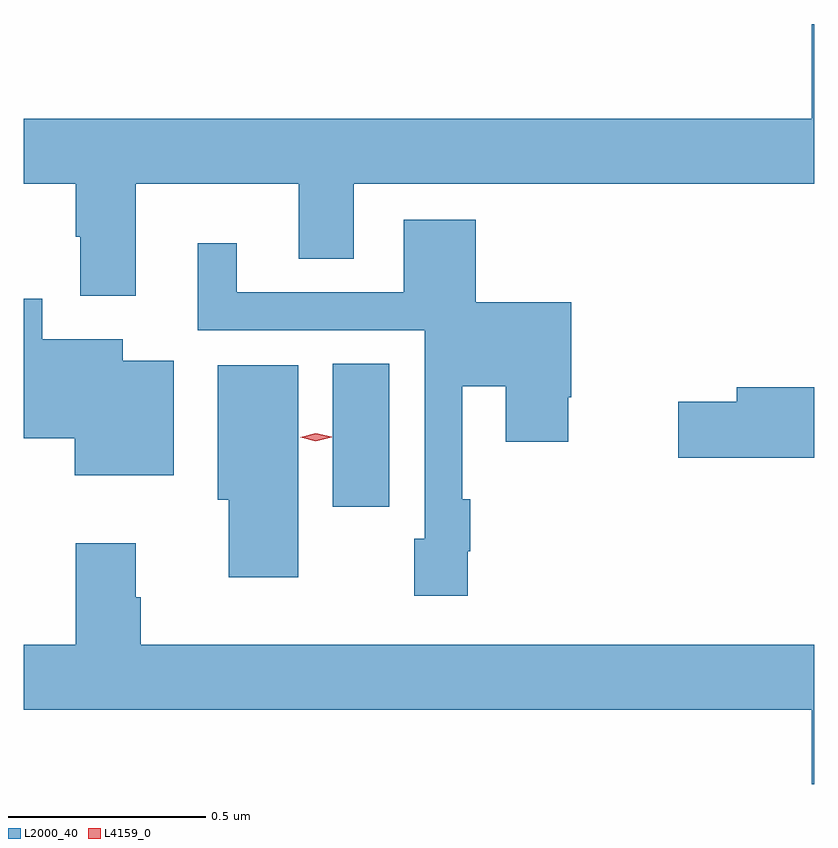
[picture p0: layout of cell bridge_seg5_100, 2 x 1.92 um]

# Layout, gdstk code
import gdstk
lib = gdstk.Library(unit=1e-6, precision=1e-09)
def R(c, l, rs):  # rectangles x0, y0, x1, y1
    for r in rs: c.add(gdstk.rectangle(r[:2], r[2:], *l))
def P(c, l, *ps):  # polygons
    for p in ps: c.add(gdstk.Polygon(p, *l))
L2000_40 = (2000, 40)
L4159_0 = (4159, 0)

bridge_seg5_100 = lib.new_cell('bridge_seg5_100')
R(bridge_seg5_100, L2000_40, [(619.34,894.57,619.483,894.932)])
P(bridge_seg5_100, L2000_40, [(618.841,895.388),(619.253,895.388),(619.253,895.198),(619.393,895.198),(619.393,895.388),(620.558,895.388),(620.558,895.792),(620.552,895.792),(620.552,895.552),(618.558,895.552),(618.558,895.388),(618.689,895.388),(618.689,895.254),(618.701,895.254),(618.701,895.104),(618.841,895.104)],
  [(619.681,894.457),(619.688,894.457),(619.688,894.589),(619.668,894.589),(619.668,894.875),(619.778,894.875),(619.778,894.735),(619.936,894.735),(619.936,894.847),(619.944,894.847),(619.944,895.087),(619.702,895.087),(619.702,895.297),(619.52,895.297),(619.52,895.113),(619.096,895.113),(619.096,895.237),(618.998,895.237),(618.998,895.017),(619.572,895.017),(619.572,894.489),(619.546,894.489),(619.546,894.345),(619.681,894.345)],
  [(618.937,894.94),(618.808,894.94),(618.808,894.994),(618.604,894.994),(618.604,895.096),(618.558,895.096),(618.558,894.743),(618.686,894.743),(618.686,894.65),(618.937,894.65)],
  [(619.252,894.928),(619.049,894.928),(619.049,894.588),(619.076,894.588),(619.076,894.392),(619.252,894.392)],
  [(620.558,894.872),(620.363,894.872),(620.363,894.836),(620.214,894.836),(620.214,894.694),(620.558,894.694)],
  [(620.558,894.22),(618.854,894.22),(618.854,894.341),(618.841,894.341),(618.841,894.478),(618.689,894.478),(618.689,894.22),(618.558,894.22),(618.558,894.056),(620.552,894.056),(620.552,893.868),(620.558,893.868)])
P(bridge_seg5_100, L4159_0, [(619.297,894.736),(619.257,894.746),(619.257,894.746),(619.257,894.746),(619.297,894.756),(619.337,894.747),(619.337,894.746),(619.337,894.746)])

lib.write_gds('bridge_seg5_100.gds')
